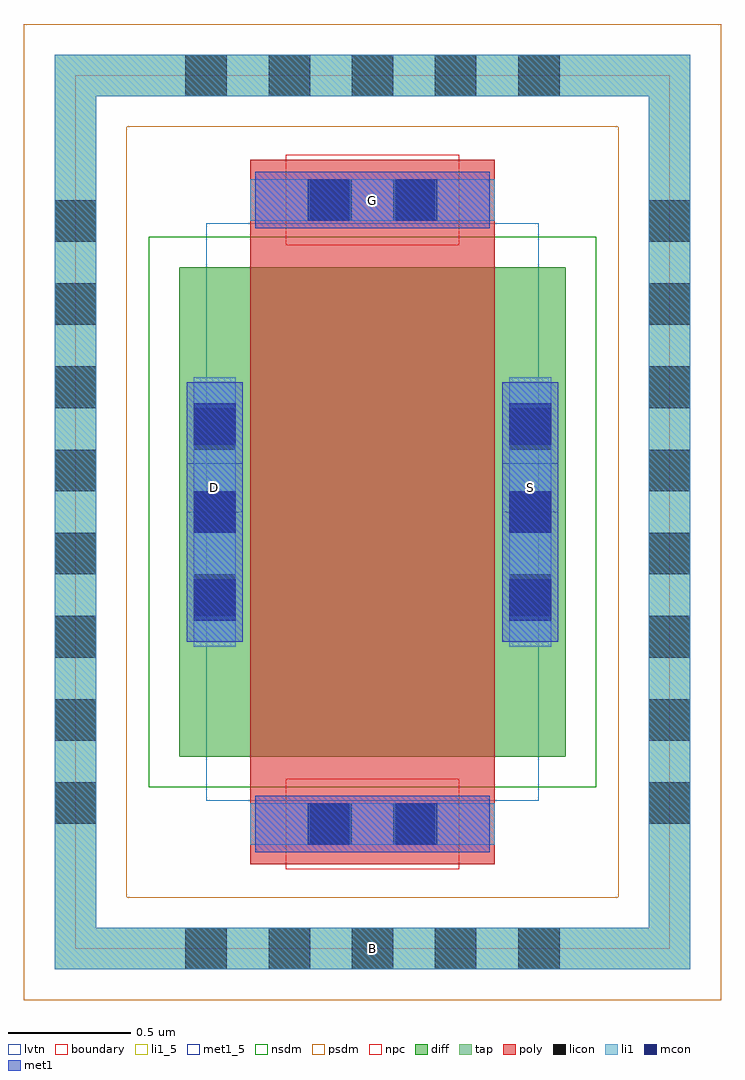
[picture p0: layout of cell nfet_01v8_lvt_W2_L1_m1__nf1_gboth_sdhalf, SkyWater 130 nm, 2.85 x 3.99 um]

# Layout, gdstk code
import gdstk
lib = gdstk.Library(unit=1e-6, precision=1e-09)
def R(c, l, rs):  # rectangles x0, y0, x1, y1
    for r in rs: c.add(gdstk.rectangle(r[:2], r[2:], *l))
def A(c, l, x, y, w, h, nx, ny, dx, dy):  # array of equal rectangles
    R(c, l, [(x+i*dx, y+j*dy, x+i*dx+w, y+j*dy+h) for i in range(nx) for j in range(ny)])
diff = (65, 20)
tap = (65, 44)
poly = (66, 20)
licon = (66, 44)
li1_5 = (67, 5)
li1 = (67, 20)
mcon = (67, 44)
met1_5 = (68, 5)
met1 = (68, 20)
nsdm = (93, 44)
psdm = (94, 20)
npc = (95, 20)
lvtn = (125, 44)
boundary = (235, 4)

sky130_fd_pr__nfet_01v8_ = lib.new_cell('sky130_fd_pr__nfet_01v8_lvt_9U6B8M')
R(sky130_fd_pr__nfet_01v8_, diff, [(-0.79,-1,0.79,1)])
R(sky130_fd_pr__nfet_01v8_, tap, [(-1.3,-1.87,1.3,-1.7), (-1.3,-1.7,-1.13,1.7), (1.13,-1.7,1.3,1.7), (-1.3,1.7,1.3,1.87)])
R(sky130_fd_pr__nfet_01v8_, poly, [(-0.5,-1.44,0.5,1.44)])
A(sky130_fd_pr__nfet_01v8_, licon, -0.765, -1.87, 0.17, 0.17, 5, 2, 0.34, 3.57)
A(sky130_fd_pr__nfet_01v8_, licon, -1.3, -1.275, 0.17, 0.17, 1, 8, 0, 0.34)
A(sky130_fd_pr__nfet_01v8_, licon, 1.13, -1.275, 0.17, 0.17, 1, 8, 0, 0.34)
A(sky130_fd_pr__nfet_01v8_, licon, -0.73, -0.425, 0.17, 0.17, 1, 3, 0, 0.34)
A(sky130_fd_pr__nfet_01v8_, licon, 0.56, -0.425, 0.17, 0.17, 1, 3, 0, 0.34)
R(sky130_fd_pr__nfet_01v8_, licon, [(-0.255,-1.36,-0.085,-1.19), (0.085,-1.36,0.255,-1.19), (-0.255,1.19,-0.085,1.36), (0.085,1.19,0.255,1.36)])
R(sky130_fd_pr__nfet_01v8_, li1, [(-1.3,-1.87,1.3,-1.7), (-1.3,-1.7,-1.13,1.7), (1.13,-1.7,1.3,1.7), (-0.5,-1.36,0.5,-1.19), (-0.73,-0.55,-0.56,0.55), (0.56,-0.55,0.73,0.55), (-0.5,1.19,0.5,1.36), (-1.3,1.7,1.3,1.87)])
A(sky130_fd_pr__nfet_01v8_, mcon, -0.73, -0.445, 0.17, 0.17, 1, 3, 0, 0.36)
A(sky130_fd_pr__nfet_01v8_, mcon, 0.56, -0.445, 0.17, 0.17, 1, 3, 0, 0.36)
R(sky130_fd_pr__nfet_01v8_, mcon, [(-0.265,-1.36,-0.095,-1.19), (0.095,-1.36,0.265,-1.19), (-0.265,1.19,-0.095,1.36), (0.095,1.19,0.265,1.36)])
R(sky130_fd_pr__nfet_01v8_, met1, [(-0.48,-1.39,0.48,-1.16), (-0.76,-0.53,-0.53,0.53), (0.53,-0.53,0.76,0.53), (-0.48,1.16,0.48,1.39)])
R(sky130_fd_pr__nfet_01v8_, nsdm, [(-0.915,-1.125,0.915,1.125)])
R(sky130_fd_pr__nfet_01v8_, psdm, [(-1.425,-1.995,1.425,-1.575), (-1.425,-1.575,-1.005,1.575), (1.005,-1.575,1.425,1.575), (-1.425,1.575,1.425,1.995)])
R(sky130_fd_pr__nfet_01v8_, npc, [(-0.355,-1.46,0.355,-1.09), (-0.355,1.09,0.355,1.46)])
R(sky130_fd_pr__nfet_01v8_, lvtn, [(-0.68,-1.18,0.68,1.18)])
R(sky130_fd_pr__nfet_01v8_, boundary, [(-1.215,-1.785,1.215,1.785)])
sky130_fd_pr__nfet_01v8_.add(gdstk.Label('B', (0,-1.785), layer=67, texttype=5))
sky130_fd_pr__nfet_01v8_.add(gdstk.Label('D', (-0.645,0), layer=67, texttype=5))
sky130_fd_pr__nfet_01v8_.add(gdstk.Label('S', (0.645,0), layer=67, texttype=5))
sky130_fd_pr__nfet_01v8_.add(gdstk.Label('G', (0,1.275), layer=67, texttype=5))

nfet_01v8_lvt_w2_l1_m1__ = lib.new_cell('nfet_01v8_lvt_W2_L1_m1__nf1_gboth_sdhalf')
R(nfet_01v8_lvt_w2_l1_m1__, li1_5, [(1.13,-0.085,1.3,0.085)])
R(nfet_01v8_lvt_w2_l1_m1__, li1, [(1.13,-0.085,1.3,0.085)])
R(nfet_01v8_lvt_w2_l1_m1__, met1_5, [(0.455,1.785,0.685,1.985), (1.745,1.785,1.975,1.985), (0.735,2.945,1.695,3.175)])
R(nfet_01v8_lvt_w2_l1_m1__, met1, [(0.455,1.785,0.685,1.985), (1.745,1.785,1.975,1.985), (0.735,2.945,1.695,3.175)])
nfet_01v8_lvt_w2_l1_m1__.add(gdstk.Reference(sky130_fd_pr__nfet_01v8_, (1.215,1.785)))
nfet_01v8_lvt_w2_l1_m1__.add(gdstk.Label('D', (0.57,1.885), layer=68, texttype=5))
nfet_01v8_lvt_w2_l1_m1__.add(gdstk.Label('S', (1.86,1.885), layer=68, texttype=5))
nfet_01v8_lvt_w2_l1_m1__.add(gdstk.Label('G', (1.215,3.06), layer=68, texttype=5))
nfet_01v8_lvt_w2_l1_m1__.add(gdstk.Label('B', (1.215,0), layer=67, texttype=5))

lib.write_gds('nfet_01v8_lvt_W2_L1_m1__nf1_gboth_sdhalf.gds')
